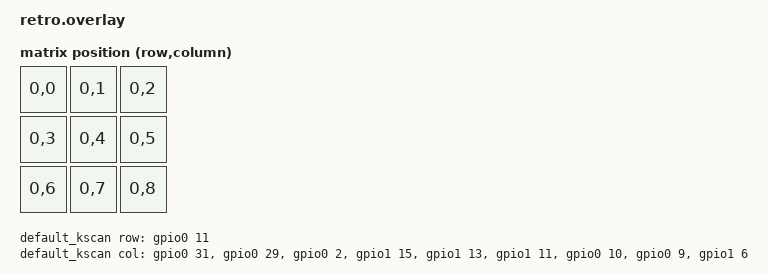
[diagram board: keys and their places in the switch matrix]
#include <dt-bindings/zmk/matrix-transform.h>
/ {
	chosen {
		zmk,kscan = &default_kscan;
		zmk,matrix-transform = &default_transform;
	};
	
	default_kscan: kscan {
		compatible = "zmk,kscan-gpio-matrix";
		label = "default_kscan";
		diode-direction = "col2row";
		
		row-gpios =
		<&gpio0 11 (GPIO_ACTIVE_HIGH | GPIO_PULL_DOWN)>;
		
		col-gpios = <
		&gpio0 31 GPIO_ACTIVE_HIGH
		&gpio0 29 GPIO_ACTIVE_HIGH
		&gpio0 2 GPIO_ACTIVE_HIGH
		&gpio1 15 GPIO_ACTIVE_HIGH
		&gpio1 13 GPIO_ACTIVE_HIGH
		&gpio1 11 GPIO_ACTIVE_HIGH
		&gpio0 10 GPIO_ACTIVE_HIGH
		&gpio0 9 GPIO_ACTIVE_HIGH
		&gpio1 6 GPIO_ACTIVE_HIGH
		>;
	};
	
	default_transform: matrix_transform {
		compatible = "zmk,matrix-transform";
		rows = <1>;
		columns = <9>;
		
		map = <
		RC(0,0) RC(0,1) RC(0,2)
		RC(0,3) RC(0,4) RC(0,5)
		RC(0,6) RC(0,7) RC(0,8)
		>;
	};
};
